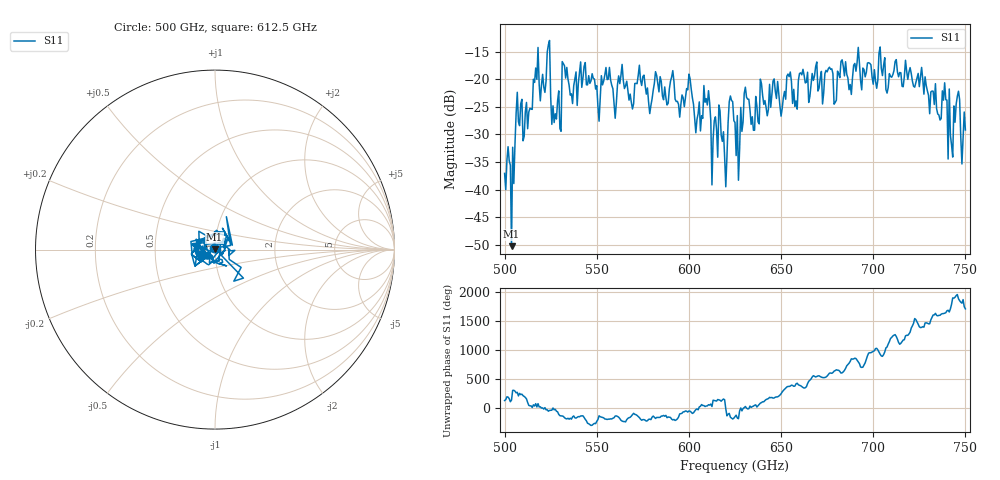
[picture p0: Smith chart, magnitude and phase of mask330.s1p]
!Created with skrf (http://scikit-rf.org).
# GHz S MA R 50.0
!freq magS11 angS11
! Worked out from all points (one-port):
!   401 points, 500 GHz to 750 GHz, reference 50 ohm
!   lowest |S11| = -50.2 dB at 503.8 GHz (marker M1), VSWR 1.01, Z = 49.8 + j0.224 ohm
!   |S11| at or under -10 dB: start of sweep to end of sweep
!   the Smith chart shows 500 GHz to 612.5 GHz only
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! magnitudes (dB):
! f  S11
! 500 GHz  -37.1
! 503.8 GHz  -50.2
! 507.5 GHz  -27.7
! 513.8 GHz  -25.3
! 516.9 GHz  -18.0
! 523.8 GHz  -13.8
! 526.9 GHz  -27.9
! 531.2 GHz  -16.8
! 532.5 GHz  -17.6
! 550.6 GHz  -24.9
! 562.5 GHz  -20.8
! 590.6 GHz  -19.6
! 593.8 GHz  -24.0
! 609.4 GHz  -23.5
! 619.4 GHz  -34.1
! 622.5 GHz  -23.0
! 625 GHz  -27.9
! 626.2 GHz  -26.6
! 631.2 GHz  -23.3
! 634.4 GHz  -26.8
! 656.2 GHz  -24.4
! 687.5 GHz  -21.0
! 718.8 GHz  -20.0
! 735.6 GHz  -26.5
! 738.8 GHz  -20.6
! 741.9 GHz  -30.1
! 745.6 GHz  -23.1
! 750 GHz  -29.2
